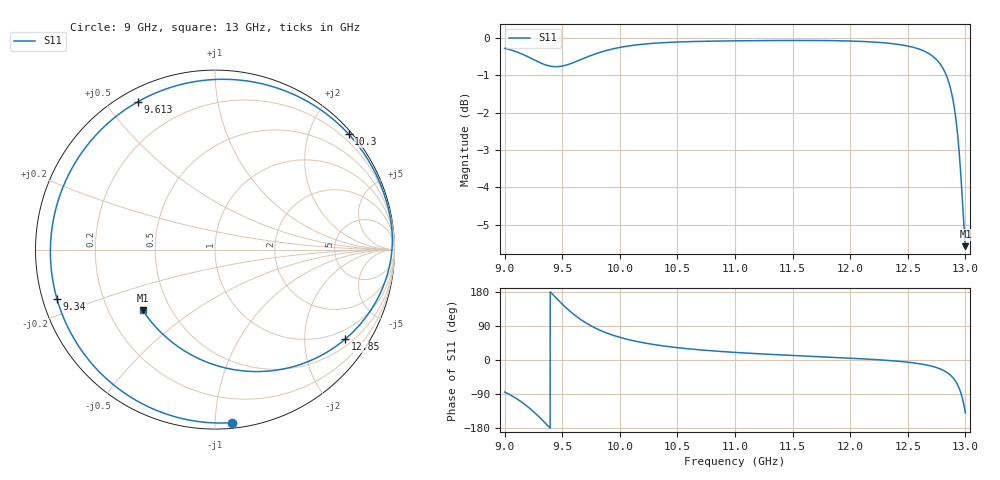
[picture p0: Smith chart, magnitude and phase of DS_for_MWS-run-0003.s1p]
! TOUCHSTONE file generated by CST DESIGN STUDIO
! Date and time: Tue Feb  4 16:45:53 2025
! Project name: C:\Work\MatlabApps\UnitCellOptimizationMatlab\CST\unitcell.cst
! Tree item: Tasks\Sweep1\SPara1\S-Parameters
! Header version: 2024
! Port assignment regex: !\s*Touchstone port\s*([0-9]+)\s*=\s*(CST MWS port|CST DES external port|CST DES block port)\s*(.+)\s* \(\"(.*)\"\)(\s*mode\s*([0-9]+))?.*
! Touchstone port assignment:
! Touchstone port 1 = CST DES external port 1 ("")
# GHz S MA R 50
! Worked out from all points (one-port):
!   4001 points, 9 GHz to 13 GHz, reference 50 ohm
!   lowest |S11| = -5.6 dB at 13 GHz (marker M1), VSWR 3.22, Z = 17.4 - j16.3 ohm
!   |S11| at or under -10 dB: nowhere
!   S11 on the Smith chart (normalised r, x): 9 GHz: 0.04, -1.10; 9.34 GHz: 0.04, -0.15; 9.613 GHz: 0.05, +0.61; 10.3 GHz: 0.07, +2.69; 12.85 GHz: 0.69, -3.06; 13 GHz: 0.35, -0.33
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9  0.9688 -84.5
9.1  0.959 -101.2
9.182  0.9474 -118.7
9.259  0.9346 -138.5
9.34  0.9224 -162.5
9.418  0.916 172.8
9.5  0.9172 147.6
9.556  0.9222 131.8
9.613  0.9292 117.5
9.682  0.9387 102.5
9.762  0.9492 88.2
9.876  0.9617 72.5
10  0.9715 59.9
10.136  0.9788 49.6
10.296  0.9841 40.8
10.5  0.988 32.6
11  0.9915 20.0
11.5  0.9927 12.0
12  0.9909 4.9
12.5  0.9757 -5.8
12.726  0.9429 -17.8
12.795  0.9164 -25.4
12.848  0.8798 -34.6
12.901  0.8116 -50.2
12.944  0.7094 -73.2
12.968  0.6276 -94.4
12.986  0.5634 -117.2
13  0.5261 -139.9
